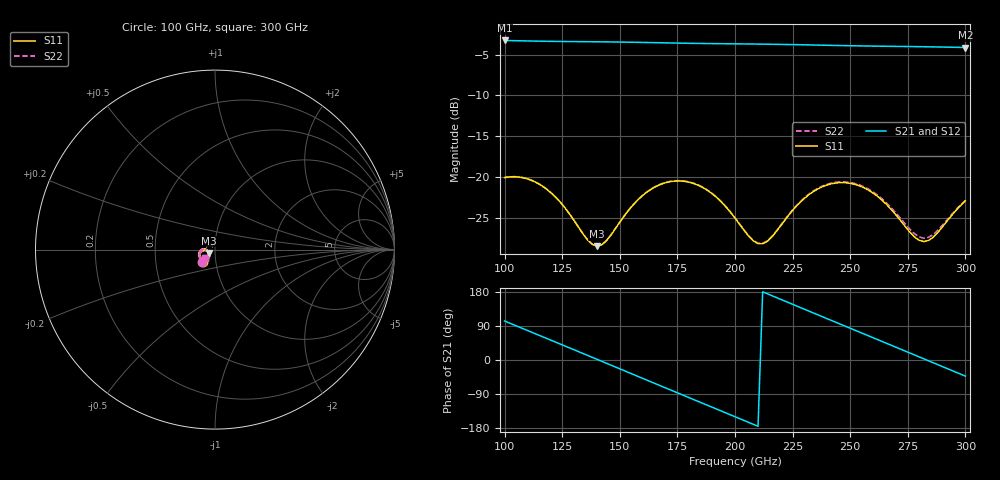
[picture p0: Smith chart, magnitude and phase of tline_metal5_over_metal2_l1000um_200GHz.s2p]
#  GHZ S DB R 50
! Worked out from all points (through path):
!   101 points, 100 GHz to 300 GHz, reference 50 ohm
!   highest |S21| = -3.28 dB at 100 GHz (marker M1); lowest = -4.1 dB at 300 GHz (marker M2)
!   group delay of S21, straight-line fit = 7.02 ps
!   lowest |S11| = -28.4 dB at 140 GHz (marker M3), VSWR 1.08, Z = 46.8 - j1.69 ohm
!   |S11| at or under -10 dB: start of sweep to end of sweep
!   |S22| runs from -28.4 to -19.9 dB; largest |S21 - S12| = 1.1e-13
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100  -20.06 -134.4  -3.28 102.9  -3.28 102.9  -20.04 -134.6
108  -20.08 -149.1  -3.33 82.7  -3.33 82.7  -20.06 -149.3
116  -21.03 -162.7  -3.37 62.6  -3.37 62.6  -21.01 -162.8
126  -23.69 -174.1  -3.41 37.4  -3.41 37.4  -23.67 -174.1
134  -26.93 -169.9  -3.43 17.2  -3.43 17.2  -26.92 -169.8
140  -28.44 -151.5  -3.44 2.1  -3.44 2.1  -28.45 -151.3
152  -24.72 -126.7  -3.48 -28.4  -3.48 -28.4  -24.70 -126.3
168  -20.85 -142.9  -3.56 -68.9  -3.56 -68.9  -20.82 -142.4
176  -20.46 -155.7  -3.61 -89.1  -3.61 -89.1  -20.43 -155.1
184  -20.99 -168.1  -3.64 -109.3  -3.64 -109.3  -20.95 -167.5
200  -25.01 178.4  -3.69 -149.6  -3.69 -149.6  -24.97 179.2
208  -27.80 -168.7  -3.72 -169.9  -3.72 -169.9  -27.76 -167.8
212  -28.15 -155.3  -3.73 180.0  -3.73 180.0  -28.09 -154.4
222  -25.13 -135.3  -3.77 154.6  -3.77 154.6  -25.06 -134.4
234  -21.77 -142.5  -3.83 124.2  -3.83 124.2  -21.69 -141.6
242  -20.80 -153.4  -3.88 104.0  -3.88 104.0  -20.72 -152.5
250  -20.76 -165.3  -3.92 83.8  -3.92 83.8  -20.66 -164.2
258  -21.60 -176.2  -3.96 63.6  -3.96 63.6  -21.47 -175.0
268  -24.02 175.9  -4.00 38.4  -4.00 38.4  -23.80 177.1
282  -27.88 -161.7  -4.05 3.0  -4.05 3.0  -27.47 -162.2
290  -26.11 -141.9  -4.08 -17.3  -4.08 -17.3  -25.90 -143.6
300  -22.89 -140.7  -4.14 -42.6  -4.14 -42.6  -22.85 -142.2
